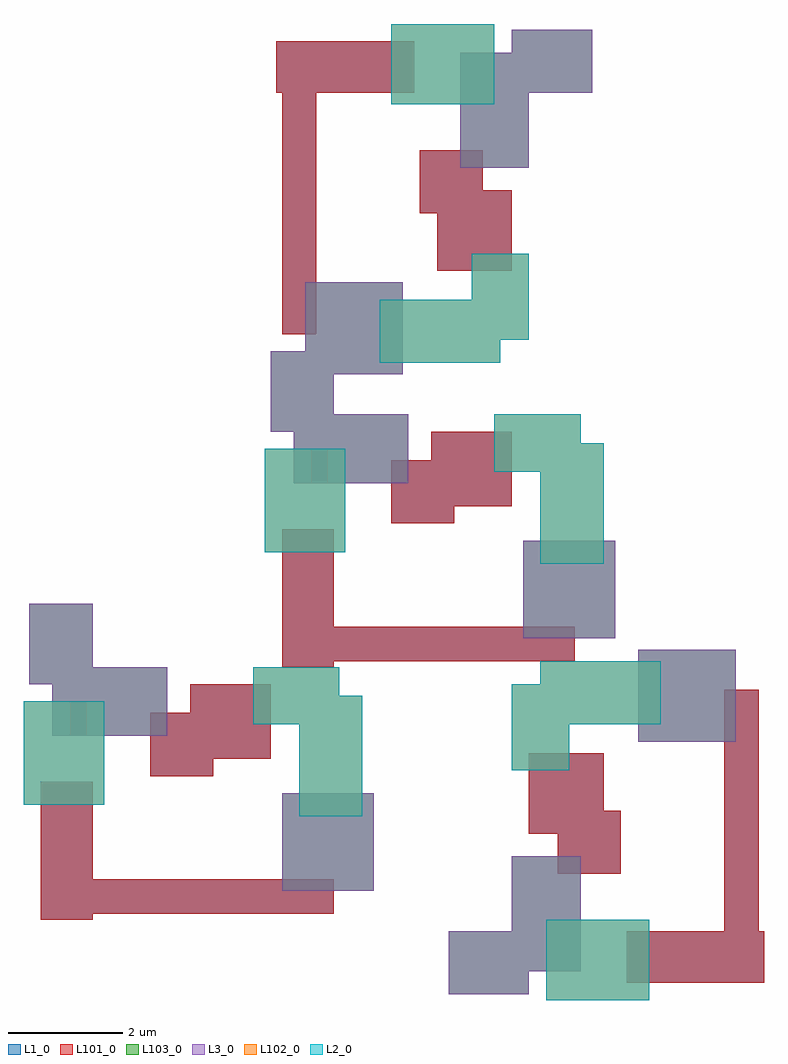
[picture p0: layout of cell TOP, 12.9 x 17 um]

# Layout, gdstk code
from math import pi, radians
import gdstk
lib = gdstk.Library(unit=1e-6, precision=1e-09)
def R(c, l, rs):  # rectangles x0, y0, x1, y1
    for r in rs: c.add(gdstk.rectangle(r[:2], r[2:], *l))
L1_0 = (1, 0)
L2_0 = (2, 0)
L3_0 = (3, 0)
L101_0 = (101, 0)
L102_0 = (102, 0)
L103_0 = (103, 0)

c_c1 = lib.new_cell('C1')
R(c_c1, L1_0, [(-2.7,-3.3,-1.8,-0.9), (-2.1,-3.2,2.4,-2.6), (-0.8,-0.8,0.3,0.3), (-0.1,-0.5,1.3,0.8)])
R(c_c1, L2_0, [(1.8,-1.5,2.9,0.6), (-3,-1.3,-1.6,0.5), (1,0.1,2.5,1.1)])
R(c_c1, L3_0, [(1.5,-2.8,3.1,-1.1), (-2.5,-0.1,-0.5,1.1), (-2.9,0.8,-1.8,2.2)])

c_i2 = lib.new_cell('I2')
R(c_i2, L101_0, [(1.8,1.4,3.2,2.7), (2.8,1.9,3.9,3)])
R(c_i2, L102_0, [(0.6,1.1,2.1,2.1), (0.2,1.6,1.3,3.7)])
R(c_i2, L103_0, [(4.9,0,6,1.4), (3.6,1.1,5.6,2.3)])
c_i2.add(gdstk.Reference(c_c1, (3.1,2.2), rotation=pi))

c_i3 = lib.new_cell('I3')
c_i3.add(gdstk.Reference(c_i2, (0,0)))

c_i1 = lib.new_cell('I1')
R(c_i1, L101_0, [(10.5,0.3,12.9,1.2), (12.2,0.9,12.8,5.4)])
R(c_i1, L102_0, [(9.1,0,10.9,1.4)])
R(c_i1, L103_0, [(10.7,4.5,12.4,6.1)])
c_i1.add(gdstk.Reference(c_c1, (9.6,3), rotation=pi/2))
c_i1.add(gdstk.Reference(c_c1, (3,4.7)))

top = lib.new_cell('TOP')
R(top, L1_0, [(-6.7,-4.2,-6.4,-3.6), (-2.5,0.2,-2.2,0.8)])
R(top, L101_0, [(-7.2,-7.4,-6.3,-5), (-6.6,-7.3,-2.1,-6.7), (1.8,-6.6,2.9,-5.5), (1.3,-5.9,2.6,-4.5), (-5.3,-4.9,-4.2,-3.8), (-4.6,-4.6,-3.2,-3.3), (-6.7,-4.2,-6.4,-3.6), (-3,-3,-2.1,-0.6), (-2.4,-2.9,2.1,-2.3), (-1.1,-0.5,0,0.6), (-0.4,-0.2,1,1.1), (-2.5,0.2,-2.2,0.8), (-3,2.8,-2.4,7.3), (-3.1,7,-0.7,7.9)])
R(top, L102_0, [(-2.7,-5.6,-1.6,-3.5), (-7.5,-5.4,-6.1,-3.6), (1,-4.8,2,-3.3), (-3.5,-4,-2,-3), (1.5,-4,3.6,-2.9), (1.5,-1.2,2.6,0.9), (-3.3,-1,-1.9,0.8), (0.7,0.4,2.2,1.4), (-1.1,6.8,0.7,8.2)])
R(top, L103_0, [(-0.1,-8.7,1.3,-7.6), (1,-8.3,2.2,-6.3), (-3,-6.9,-1.4,-5.2), (-7,-4.2,-5,-3), (-7.4,-3.3,-6.3,-1.9), (1.2,-2.5,2.8,-0.8), (-2.8,0.2,-0.8,1.4), (-3.2,1.1,-2.1,2.5), (-2.6,2.1,-0.9,3.7)])
top.add(gdstk.Reference(c_c1, (-0.3,0.3)))
top.add(gdstk.Reference(c_i3, (2.4,2.1), rotation=pi/2))
top.add(gdstk.Reference(c_i1, (-7.5,-8.8)))

lib.write_gds('TOP.gds')
